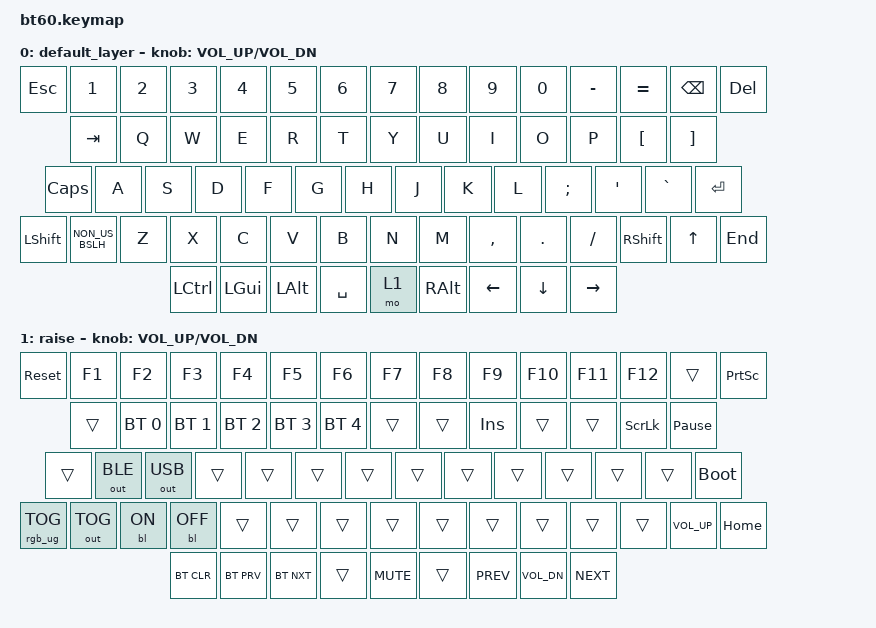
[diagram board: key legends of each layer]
#include <behaviors.dtsi>
#include <dt-bindings/zmk/keys.h>
#include <dt-bindings/zmk/bt.h>
#include <dt-bindings/zmk/rgb.h>
#include <dt-bindings/zmk/backlight.h>
#include <dt-bindings/zmk/outputs.h>

/ {
	keymap {
		compatible = "zmk,keymap";

		default_layer {
				// ----------------------------------------------------------------------------------------------
				// |  ESC  |  1  |  2  |  3  |  4  |  5  |  6  |  7  |  8  |  9  |  0  |  -  |  =  | BSPC  | DEL|
				// | TAB  |  Q  |  W  |  E  |  R  |  T  |  Y  |  U  |  I  |  O  |  P  |  [  |  ]   |            |
				// | CAPS  |  A  |  S  |  D  |  F  |  G  |  H  |  J  |  K  |  L  |  ;  |  '  |  `  | ENTER	    |
				// |  SHIFT|  \ |  Z  |  X  |  C  |  V  |  B  |  N  |  M  |  ,  |  .  | / | SHIFT | up | END    |
				// |  CTL  |  WIN  |  ALT  |            SPACE              | FN | ALT | left | down | right     |
				// ----------------------------------------------------------------------------------------------
			bindings = <

				&kp ESC &kp N1 &kp N2 &kp N3 &kp N4 &kp N5 &kp N6 &kp N7 &kp  N8   &kp  N9 &kp  N0  &kp MINUS &kp EQUAL &kp BSPC &kp DEL
				&kp TAB  &kp Q  &kp W  &kp E  &kp R  &kp T  &kp Y  &kp U  &kp  I    &kp  O  &kp  P   &kp LBKT &kp RBKT
				&kp CAPS  &kp A  &kp S  &kp D  &kp F  &kp G  &kp H  &kp J  &kp  K    &kp  L  &kp SEMI &kp SQT	&kp GRAVE  &kp RET
				&kp LSHFT &kp NON_US_BSLH &kp Z  &kp X  &kp C  &kp V  &kp B  &kp N  &kp M  &kp COMMA &kp DOT &kp FSLH &kp RSHIFT	&kp UP &kp END
				&kp LCTRL &kp LGUI &kp LALT            &kp SPACE                          &mo 1 &kp RALT   &kp LEFT &kp DOWN   &kp RIGHT
			>;
			sensor-bindings = <&inc_dec_kp C_VOL_UP C_VOL_DN>;
		};
		raise {
			bindings = <
				&sys_reset &kp F1 &kp F2 &kp F3 &kp F4 &kp F5 &kp F6 &kp F7 &kp F8 &kp F9 &kp F10 &kp F11 &kp F12 &trans &kp PSCRN
				&trans &bt BT_SEL 0 &bt BT_SEL 1 &bt BT_SEL 2 &bt BT_SEL 3 &bt BT_SEL 4 &trans &trans &kp INS &trans &trans &kp SLCK &kp PAUSE_BREAK
				&trans &out OUT_BLE &out OUT_USB &trans &trans &trans &trans &trans &trans &trans &trans  &trans &trans  &bootloader
				&rgb_ug RGB_TOG &out OUT_TOG &bl BL_ON &bl BL_OFF &trans &trans &trans &trans &trans &trans &trans &trans &trans &kp C_VOL_UP &kp HOME
				&bt BT_CLR &bt BT_PRV &bt BT_NXT               &trans                            &kp C_MUTE   &trans &kp C_PREV    &kp C_VOL_DN &kp C_NEXT
			>;
			sensor-bindings = <&inc_dec_kp C_VOL_UP C_VOL_DN>;
		};
	};
};
